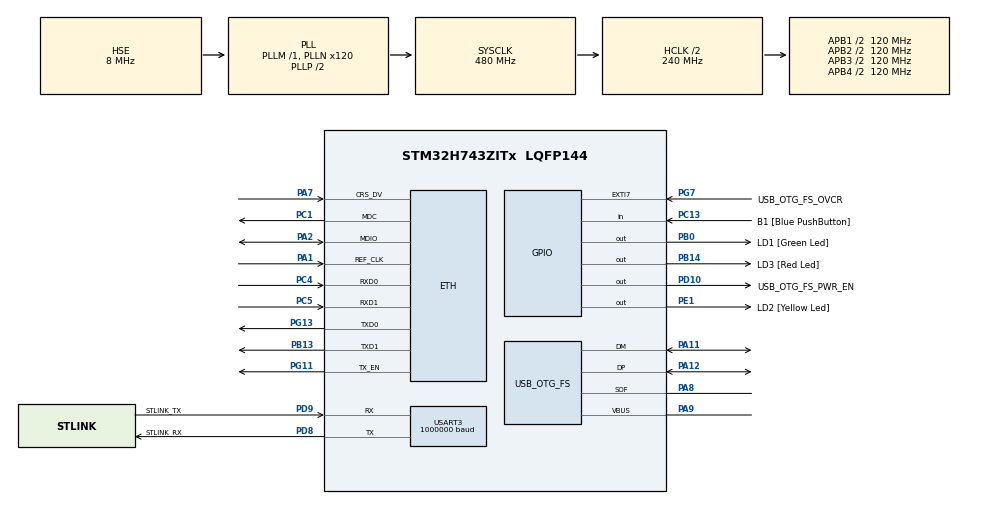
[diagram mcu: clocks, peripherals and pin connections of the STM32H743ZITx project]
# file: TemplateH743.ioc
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CRC.InputDataFormat=CRC_INPUTDATA_FORMAT_WORDS
CRC.InputDataInversionMode=CRC_INPUTDATA_INVERSION_WORD
CRC.OutputDataInversionMode=CRC_OUTPUTDATA_INVERSION_ENABLE
ETH.MediaInterface=HAL_ETH_RMII_MODE
Mcu.Family=STM32H7
Mcu.Name=STM32H743ZITx
Mcu.Package=LQFP144
NVIC.PriorityGroup=NVIC_PRIORITYGROUP_4
NVIC.USART3_IRQn=true\:0\:0\:false\:false\:true\:true\:true\:true
PA1.Mode=RMII
PA1.Signal=ETH_REF_CLK
PA11.Mode=Device_Only
PA11.Signal=USB_OTG_FS_DM
PA12.Mode=Device_Only
PA12.Signal=USB_OTG_FS_DP
PA2.Mode=RMII
PA2.Signal=ETH_MDIO
PA7.Mode=RMII
PA7.Signal=ETH_CRS_DV
PA8.Mode=Activate_SOF_FS
PA8.Signal=USB_OTG_FS_SOF
PA9.Mode=Activate_VBUS
PA9.Signal=USB_OTG_FS_VBUS
PB0.GPIO_Label=LD1 [Green Led]
PB0.Signal=GPIO_Output
PB13.Mode=RMII
PB13.Signal=ETH_TXD1
PB14.GPIO_Label=LD3 [Red Led]
PB14.Signal=GPIO_Output
PC1.Mode=RMII
PC1.Signal=ETH_MDC
PC13.GPIO_Label=B1 [Blue PushButton]
PC13.Signal=GPIO_Input
PC14-OSC32_IN\ (OSC32_IN).Mode=LSE-External-Oscillator
PC14-OSC32_IN\ (OSC32_IN).Signal=RCC_OSC32_IN
PC15-OSC32_OUT\ (OSC32_OUT).Mode=LSE-External-Oscillator
PC15-OSC32_OUT\ (OSC32_OUT).Signal=RCC_OSC32_OUT
PC4.Mode=RMII
PC4.Signal=ETH_RXD0
PC5.Mode=RMII
PC5.Signal=ETH_RXD1
PD10.GPIO_Label=USB_OTG_FS_PWR_EN
PD10.Signal=GPIO_Output
PD8.GPIO_Label=STLINK_RX
PD8.Mode=Asynchronous
PD8.Signal=USART3_TX
PD9.GPIO_Label=STLINK_TX
PD9.Mode=Asynchronous
PD9.Signal=USART3_RX
PE1.GPIO_Label=LD2 [Yellow Led]
PE1.Signal=GPIO_Output
PG11.Mode=RMII
PG11.Signal=ETH_TX_EN
PG13.Mode=RMII
PG13.Signal=ETH_TXD0
PG7.GPIO_Label=USB_OTG_FS_OVCR
PG7.Signal=GPXTI7
PH0-OSC_IN\ (PH0).Mode=HSE-External-Clock-Source
PH0-OSC_IN\ (PH0).Signal=RCC_OSC_IN
PH1-OSC_OUT\ (PH1).Signal=RCC_OSC_OUT
ProjectManager.HeapSize=0x200
ProjectManager.StackSize=0x400
ProjectManager.TargetToolchain=STM32CubeIDE
RCC.ADCFreq_Value=16125000
RCC.APB1Freq_Value=120000000
RCC.APB2Freq_Value=120000000
RCC.APB3Freq_Value=120000000
RCC.APB4Freq_Value=120000000
RCC.CortexFreq_Value=480000000
RCC.D1PPRE=RCC_APB3_DIV2
RCC.D2PPRE1=RCC_APB1_DIV2
RCC.D2PPRE2=RCC_APB2_DIV2
RCC.D3PPRE=RCC_APB4_DIV2
RCC.DIVM1=1
RCC.DIVN1=120
RCC.DIVQ1=4
RCC.HCLKFreq_Value=240000000
RCC.HPRE=RCC_HCLK_DIV2
RCC.HSE_VALUE=8000000
RCC.PLLFRACN=0
RCC.PLLSourceVirtual=RCC_PLLSOURCE_HSE
RCC.PWR_Regulator_Voltage_Scale=PWR_REGULATOR_VOLTAGE_SCALE0
RCC.SYSCLKFreq_VALUE=480000000
RCC.SYSCLKSource=RCC_SYSCLKSOURCE_PLLCLK
RCC.USBCLockSelection=RCC_USBCLKSOURCE_HSI48
RCC.USBFreq_Value=48000000
USART3.BaudRate=1000000
USART3.VirtualMode-Asynchronous=VM_ASYNC
USB_OTG_FS.VirtualMode=Device_Only
VP_CRC_VS_CRC.Mode=CRC_Activate
board=NUCLEO-H743ZI2

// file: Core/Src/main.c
/* USER CODE BEGIN Header */
/**
  ******************************************************************************
  * @file           : main.c
  * @brief          : Main program body
  ******************************************************************************
  * @attention
  *
  * Copyright (c) 2023 STMicroelectronics.
  * All rights reserved.
  *
  * This software is licensed under terms that can be found in the LICENSE file
  * in the root directory of this software component.
  * If no LICENSE file comes with this software, it is provided AS-IS.
  *
  ******************************************************************************
  */
/* USER CODE END Header */
#include "main.h"
#include "string.h"

/* USER CODE BEGIN Includes */
#include "afl.h"
#include "fuzzing.h"
#include "test.h"

/* USER CODE END Includes */

/* USER CODE BEGIN PTD */
Fuzzer_t AFLfuzzer;
uint8_t data[1024];
/* USER CODE END PTD */

#if defined ( __ICCARM__ ) /*!< IAR Compiler */
#pragma location=0x30000000
ETH_DMADescTypeDef  DMARxDscrTab[ETH_RX_DESC_CNT]; /* Ethernet Rx DMA Descriptors */
#pragma location=0x30000200
ETH_DMADescTypeDef  DMATxDscrTab[ETH_TX_DESC_CNT]; /* Ethernet Tx DMA Descriptors */

#elif defined ( __CC_ARM )  /* MDK ARM Compiler */

__attribute__((at(0x30000000))) ETH_DMADescTypeDef  DMARxDscrTab[ETH_RX_DESC_CNT]; /* Ethernet Rx DMA Descriptors */
__attribute__((at(0x30000200))) ETH_DMADescTypeDef  DMATxDscrTab[ETH_TX_DESC_CNT]; /* Ethernet Tx DMA Descriptors */

#elif defined ( __GNUC__ ) /* GNU Compiler */
ETH_DMADescTypeDef DMARxDscrTab[ETH_RX_DESC_CNT] __attribute__((section(".RxDecripSection"))); /* Ethernet Rx DMA Descriptors */
ETH_DMADescTypeDef DMATxDscrTab[ETH_TX_DESC_CNT] __attribute__((section(".TxDecripSection")));   /* Ethernet Tx DMA Descriptors */

#endif

ETH_TxPacketConfig TxConfig;

CRC_HandleTypeDef hcrc;

ETH_HandleTypeDef heth;

UART_HandleTypeDef huart3;

PCD_HandleTypeDef hpcd_USB_OTG_FS;

void SystemClock_Config(void);
static void MX_GPIO_Init(void);
static void MX_ETH_Init(void);
static void MX_USART3_UART_Init(void);
static void MX_USB_OTG_FS_PCD_Init(void);
static void MX_CRC_Init(void);

int main(void)
{

  /* MCU Configuration--------------------------------------------------------*/

  /* Reset of all peripherals, Initializes the Flash interface and the Systick. */
  HAL_Init();

  /* Configure the system clock */
  SystemClock_Config();

  /* Initialize all configured peripherals */
  MX_GPIO_Init();
  MX_ETH_Init();
  MX_USART3_UART_Init();
  MX_USB_OTG_FS_PCD_Init();
  MX_CRC_Init();
  /* USER CODE BEGIN 2 */
  union ubytes_t auxbytes;
  uint32_t len, notificationvalue;
  uint8_t padding;
  /* USER CODE END 2 */

  /* Infinite loop */
  while (1)
  {

    /* USER CODE BEGIN 3 */

	  if(!AFLfuzzer.bRXcomplete )
	  {

	          	//uart_get_buffered_data_len(ECHO_UART_PORT_NUM, &len);

	              //len = UART1_ReadCountGet();

	              if(HAL_UART_Receive(&huart3, data, 4, HAL_MAX_DELAY) == HAL_OK) //blocking
	              {
	                  auxbytes.vint32 = 0;
	                  auxbytes.vbytes[0] = data[0];
	                  auxbytes.vbytes[1] = data[1];
	                  auxbytes.vbytes[2] = data[2];
	                  auxbytes.vbytes[3] = data[3];
	                  if(auxbytes.vint32 < 530)
	                  {

	                      if (auxbytes.vint32 % 4)
	                      {
	                         padding = 4 - auxbytes.vint32 % 4;
	                      }
	                      else
	                      {
	                          padding = 0;
	                      }

	                      if(HAL_UART_Receive(&huart3,data+4,auxbytes.vint32 + padding, 100)== HAL_OK)
	                      {
	                         len = auxbytes.vint32 + padding + 4;
	                         FuzzingInputHandler(data,&len);
	                      }
	                      else
	                      {
	                         len = 0;

	                      }

	                  }
	              }

	     }
	    else
	    {

	    	           notificationvalue = test(&AFLfuzzer.inputAFL.uxBuffer[4], AFLfuzzer.inputAFL.u32availablenopad );

	    	            //if (notificationvalue == 0)
	    	            if (notificationvalue == FAULT_TMOUT)
	    	            {
	    	               AFLfuzzer.aflheader[0] = FAULT_TMOUT;
	    	              //printf("Target timeout, starting a new target process...\n");
	    	             //We need to kill the target task and spawn a new target
	    	             //vTaskDelete(AFLfuzzer.xTaskTarget);
	    	             //spawnNewTarget();
	    	             //taskYIELD(); // this is required to let FreeRTOS to clean up the deleted task artifacts and run the new target
	    	            }
	    	            else if(notificationvalue == FAULT_CRASH)
	    	            {
	    	               AFLfuzzer.aflheader[0] = notificationvalue;
	    	               //printf("Target crashed at: 0x%x, starting a new target process...\n", (unsigned int)AFLfuzzer.PCcrash);
	    	           	   //The target process was already killed in the Memfault ISR,
	    	           	   //We need to spawn a new target task
	    	           	   //spawnNewTarget();
	    	           	   //taskYIELD(); // this is required to let FreeRTOS to clean up the deleted task artifacts and run the new target
	    	           	}
	    	           	else if (notificationvalue == FAULT_NONE_RTOS)
	    	           	{
	    	           		    // we need this because 0 means timeout for the RTOS notification system
	    	           		 notificationvalue = FAULT_NONE;
	    	           		 AFLfuzzer.aflheader[0] = notificationvalue;
	    	            }

	    	           	AFLfuzzer.aflheader[1] = (AFLfuzzer.indexdif * sizeof(tuple_t)  + 4 );

	    	  			//CDC_Transmit_FS(aflbitmap, AFL_BITMAP_SIZE);
	    	            tuple_t *auxdiff = AFLfuzzer.afldiff + 1; // the first tuple is empty so we can skip it
	    	           	union ubytes_t *crcbytes;
	    	           	//uint8_t  *data;

	    	         	crcbytes = (union ubytes_t *)(auxdiff + AFLfuzzer.indexdif); //set CRC bytes * at the end of the tuple array

	    			    //calculate the CRC of the return value and payload size
	    	          	uint32_t uwCRCValue = 0;
	    	          	CRC_Calculate((uint32_t *)AFLfuzzer.aflheader, 2*4, &uwCRCValue);
	    	          	CRC_Calculate((uint32_t *)auxdiff, AFLfuzzer.indexdif*4, &uwCRCValue);

	    	          	crcbytes->vuint32 = uwCRCValue;

	    	          	//uart_write_bytes(ECHO_UART_PORT_NUM, (uint8_t *)AFLfuzzer.aflheader, 8);
	    	            HAL_UART_Transmit(&huart3, (uint8_t *)AFLfuzzer.aflheader, 8, 100);

	    	          	//uart_write_bytes(ECHO_UART_PORT_NUM, (uint8_t *)auxdiff, AFLfuzzer.aflheader[1]);
	    	            //UART1_Write((uint8_t *)auxdiff,  AFLfuzzer.aflheader[1]);

	    	            HAL_UART_Transmit(&huart3, (uint8_t *)auxdiff, AFLfuzzer.aflheader[1], 100);

	    	        	AFLfuzzer.bTXcomplete = 1;
	    	            AFLfuzzer.bRXcomplete = 0;
	    	            AFLfuzzer.inputLength = 0;
	    	            AFLfuzzer.previousGuard = 0;
	    	            RingZeroes(&AFLfuzzer.inputAFL);
	    	           	// clean the bitmap
	    	           	for(uint32_t i=0; i<AFLfuzzer.indexdif; i++)
	    	           	{
	    	           		AFLfuzzer.aflbmp[auxdiff[i].index]=0;
	    	           	}
	    	           	memset(AFLfuzzer.afldiff,0,(AFLfuzzer.indexdif+2)*sizeof(tuple_t)); //we need on extra tuple to clean which is used for the CRC
	    	           	AFLfuzzer.indexdif = 0;

	    }

  }
  /* USER CODE END 3 */
}

void SystemClock_Config(void)
{
  RCC_OscInitTypeDef RCC_OscInitStruct = {0};
  RCC_ClkInitTypeDef RCC_ClkInitStruct = {0};

  /** Supply configuration update enable
  */
  HAL_PWREx_ConfigSupply(PWR_LDO_SUPPLY);

  /** Configure the main internal regulator output voltage
  */
  __HAL_PWR_VOLTAGESCALING_CONFIG(PWR_REGULATOR_VOLTAGE_SCALE1);

  while(!__HAL_PWR_GET_FLAG(PWR_FLAG_VOSRDY)) {}

  __HAL_RCC_SYSCFG_CLK_ENABLE();
  __HAL_PWR_VOLTAGESCALING_CONFIG(PWR_REGULATOR_VOLTAGE_SCALE0);

  while(!__HAL_PWR_GET_FLAG(PWR_FLAG_VOSRDY)) {}

  /** Initializes the RCC Oscillators according to the specified parameters
  * in the RCC_OscInitTypeDef structure.
  */
  RCC_OscInitStruct.OscillatorType = RCC_OSCILLATORTYPE_HSI48|RCC_OSCILLATORTYPE_HSE;
  RCC_OscInitStruct.HSEState = RCC_HSE_BYPASS;
  RCC_OscInitStruct.HSI48State = RCC_HSI48_ON;
  RCC_OscInitStruct.PLL.PLLState = RCC_PLL_ON;
  RCC_OscInitStruct.PLL.PLLSource = RCC_PLLSOURCE_HSE;
  RCC_OscInitStruct.PLL.PLLM = 1;
  RCC_OscInitStruct.PLL.PLLN = 120;
  RCC_OscInitStruct.PLL.PLLP = 2;
  RCC_OscInitStruct.PLL.PLLQ = 4;
  RCC_OscInitStruct.PLL.PLLR = 2;
  RCC_OscInitStruct.PLL.PLLRGE = RCC_PLL1VCIRANGE_3;
  RCC_OscInitStruct.PLL.PLLVCOSEL = RCC_PLL1VCOWIDE;
  RCC_OscInitStruct.PLL.PLLFRACN = 0;
  if (HAL_RCC_OscConfig(&RCC_OscInitStruct) != HAL_OK)
  {
    Error_Handler();
  }

  /** Initializes the CPU, AHB and APB buses clocks
  */
  RCC_ClkInitStruct.ClockType = RCC_CLOCKTYPE_HCLK|RCC_CLOCKTYPE_SYSCLK
                              |RCC_CLOCKTYPE_PCLK1|RCC_CLOCKTYPE_PCLK2
                              |RCC_CLOCKTYPE_D3PCLK1|RCC_CLOCKTYPE_D1PCLK1;
  RCC_ClkInitStruct.SYSCLKSource = RCC_SYSCLKSOURCE_PLLCLK;
  RCC_ClkInitStruct.SYSCLKDivider = RCC_SYSCLK_DIV1;
  RCC_ClkInitStruct.AHBCLKDivider = RCC_HCLK_DIV2;
  RCC_ClkInitStruct.APB3CLKDivider = RCC_APB3_DIV2;
  RCC_ClkInitStruct.APB1CLKDivider = RCC_APB1_DIV2;
  RCC_ClkInitStruct.APB2CLKDivider = RCC_APB2_DIV2;
  RCC_ClkInitStruct.APB4CLKDivider = RCC_APB4_DIV2;

  if (HAL_RCC_ClockConfig(&RCC_ClkInitStruct, FLASH_LATENCY_4) != HAL_OK)
  {
    Error_Handler();
  }
}

static void MX_CRC_Init(void)
{

  hcrc.Instance = CRC;
  hcrc.Init.DefaultPolynomialUse = DEFAULT_POLYNOMIAL_ENABLE;
  hcrc.Init.DefaultInitValueUse = DEFAULT_INIT_VALUE_ENABLE;
  hcrc.Init.InputDataInversionMode = CRC_INPUTDATA_INVERSION_WORD;
  hcrc.Init.OutputDataInversionMode = CRC_OUTPUTDATA_INVERSION_ENABLE;
  hcrc.InputDataFormat = CRC_INPUTDATA_FORMAT_WORDS;
  if (HAL_CRC_Init(&hcrc) != HAL_OK)
  {
    Error_Handler();
  }

}

static void MX_ETH_Init(void)
{

   static uint8_t MACAddr[6];

  heth.Instance = ETH;
  MACAddr[0] = 0x00;
  MACAddr[1] = 0x80;
  MACAddr[2] = 0xE1;
  MACAddr[3] = 0x00;
  MACAddr[4] = 0x00;
  MACAddr[5] = 0x00;
  heth.Init.MACAddr = &MACAddr[0];
  heth.Init.MediaInterface = HAL_ETH_RMII_MODE;
  heth.Init.TxDesc = DMATxDscrTab;
  heth.Init.RxDesc = DMARxDscrTab;
  heth.Init.RxBuffLen = 1524;

  if (HAL_ETH_Init(&heth) != HAL_OK)
  {
    Error_Handler();
  }

  memset(&TxConfig, 0 , sizeof(ETH_TxPacketConfig));
  TxConfig.Attributes = ETH_TX_PACKETS_FEATURES_CSUM | ETH_TX_PACKETS_FEATURES_CRCPAD;
  TxConfig.ChecksumCtrl = ETH_CHECKSUM_IPHDR_PAYLOAD_INSERT_PHDR_CALC;
  TxConfig.CRCPadCtrl = ETH_CRC_PAD_INSERT;

}

static void MX_USART3_UART_Init(void)
{

  huart3.Instance = USART3;
  huart3.Init.BaudRate = 1000000;
  huart3.Init.WordLength = UART_WORDLENGTH_8B;
  huart3.Init.StopBits = UART_STOPBITS_1;
  huart3.Init.Parity = UART_PARITY_NONE;
  huart3.Init.Mode = UART_MODE_TX_RX;
  huart3.Init.HwFlowCtl = UART_HWCONTROL_NONE;
  huart3.Init.OverSampling = UART_OVERSAMPLING_16;
  huart3.Init.OneBitSampling = UART_ONE_BIT_SAMPLE_DISABLE;
  huart3.Init.ClockPrescaler = UART_PRESCALER_DIV1;
  huart3.AdvancedInit.AdvFeatureInit = UART_ADVFEATURE_NO_INIT;
  if (HAL_UART_Init(&huart3) != HAL_OK)
  {
    Error_Handler();
  }
  if (HAL_UARTEx_SetTxFifoThreshold(&huart3, UART_TXFIFO_THRESHOLD_1_8) != HAL_OK)
  {
    Error_Handler();
  }
  if (HAL_UARTEx_SetRxFifoThreshold(&huart3, UART_RXFIFO_THRESHOLD_1_8) != HAL_OK)
  {
    Error_Handler();
  }
  if (HAL_UARTEx_DisableFifoMode(&huart3) != HAL_OK)
  {
    Error_Handler();
  }

}

static void MX_USB_OTG_FS_PCD_Init(void)
{

  hpcd_USB_OTG_FS.Instance = USB_OTG_FS;
  hpcd_USB_OTG_FS.Init.dev_endpoints = 9;
  hpcd_USB_OTG_FS.Init.speed = PCD_SPEED_FULL;
  hpcd_USB_OTG_FS.Init.dma_enable = DISABLE;
  hpcd_USB_OTG_FS.Init.phy_itface = PCD_PHY_EMBEDDED;
  hpcd_USB_OTG_FS.Init.Sof_enable = ENABLE;
  hpcd_USB_OTG_FS.Init.low_power_enable = DISABLE;
  hpcd_USB_OTG_FS.Init.lpm_enable = DISABLE;
  hpcd_USB_OTG_FS.Init.battery_charging_enable = ENABLE;
  hpcd_USB_OTG_FS.Init.vbus_sensing_enable = ENABLE;
  hpcd_USB_OTG_FS.Init.use_dedicated_ep1 = DISABLE;
  if (HAL_PCD_Init(&hpcd_USB_OTG_FS) != HAL_OK)
  {
    Error_Handler();
  }

}

static void MX_GPIO_Init(void)
{
  GPIO_InitTypeDef GPIO_InitStruct = {0};

  /* GPIO Ports Clock Enable */
  __HAL_RCC_GPIOC_CLK_ENABLE();
  __HAL_RCC_GPIOH_CLK_ENABLE();
  __HAL_RCC_GPIOA_CLK_ENABLE();
  __HAL_RCC_GPIOB_CLK_ENABLE();
  __HAL_RCC_GPIOD_CLK_ENABLE();
  __HAL_RCC_GPIOG_CLK_ENABLE();
  __HAL_RCC_GPIOE_CLK_ENABLE();

  /*Configure GPIO pin Output Level */
  HAL_GPIO_WritePin(GPIOB, LD1_Pin|LD3_Pin, GPIO_PIN_RESET);

  /*Configure GPIO pin Output Level */
  HAL_GPIO_WritePin(USB_OTG_FS_PWR_EN_GPIO_Port, USB_OTG_FS_PWR_EN_Pin, GPIO_PIN_RESET);

  /*Configure GPIO pin Output Level */
  HAL_GPIO_WritePin(LD2_GPIO_Port, LD2_Pin, GPIO_PIN_RESET);

  /*Configure GPIO pin : B1_Pin */
  GPIO_InitStruct.Pin = B1_Pin;
  GPIO_InitStruct.Mode = GPIO_MODE_INPUT;
  GPIO_InitStruct.Pull = GPIO_NOPULL;
  HAL_GPIO_Init(B1_GPIO_Port, &GPIO_InitStruct);

  /*Configure GPIO pins : LD1_Pin LD3_Pin */
  GPIO_InitStruct.Pin = LD1_Pin|LD3_Pin;
  GPIO_InitStruct.Mode = GPIO_MODE_OUTPUT_PP;
  GPIO_InitStruct.Pull = GPIO_NOPULL;
  GPIO_InitStruct.Speed = GPIO_SPEED_FREQ_LOW;
  HAL_GPIO_Init(GPIOB, &GPIO_InitStruct);

  /*Configure GPIO pin : USB_OTG_FS_PWR_EN_Pin */
  GPIO_InitStruct.Pin = USB_OTG_FS_PWR_EN_Pin;
  GPIO_InitStruct.Mode = GPIO_MODE_OUTPUT_PP;
  GPIO_InitStruct.Pull = GPIO_NOPULL;
  GPIO_InitStruct.Speed = GPIO_SPEED_FREQ_LOW;
  HAL_GPIO_Init(USB_OTG_FS_PWR_EN_GPIO_Port, &GPIO_InitStruct);

  /*Configure GPIO pin : USB_OTG_FS_OVCR_Pin */
  GPIO_InitStruct.Pin = USB_OTG_FS_OVCR_Pin;
  GPIO_InitStruct.Mode = GPIO_MODE_IT_RISING;
  GPIO_InitStruct.Pull = GPIO_NOPULL;
  HAL_GPIO_Init(USB_OTG_FS_OVCR_GPIO_Port, &GPIO_InitStruct);

  /*Configure GPIO pin : LD2_Pin */
  GPIO_InitStruct.Pin = LD2_Pin;
  GPIO_InitStruct.Mode = GPIO_MODE_OUTPUT_PP;
  GPIO_InitStruct.Pull = GPIO_NOPULL;
  GPIO_InitStruct.Speed = GPIO_SPEED_FREQ_LOW;
  HAL_GPIO_Init(LD2_GPIO_Port, &GPIO_InitStruct);

}

void Error_Handler(void)
{
  __disable_irq();
  while (1)
  {
  }
}
